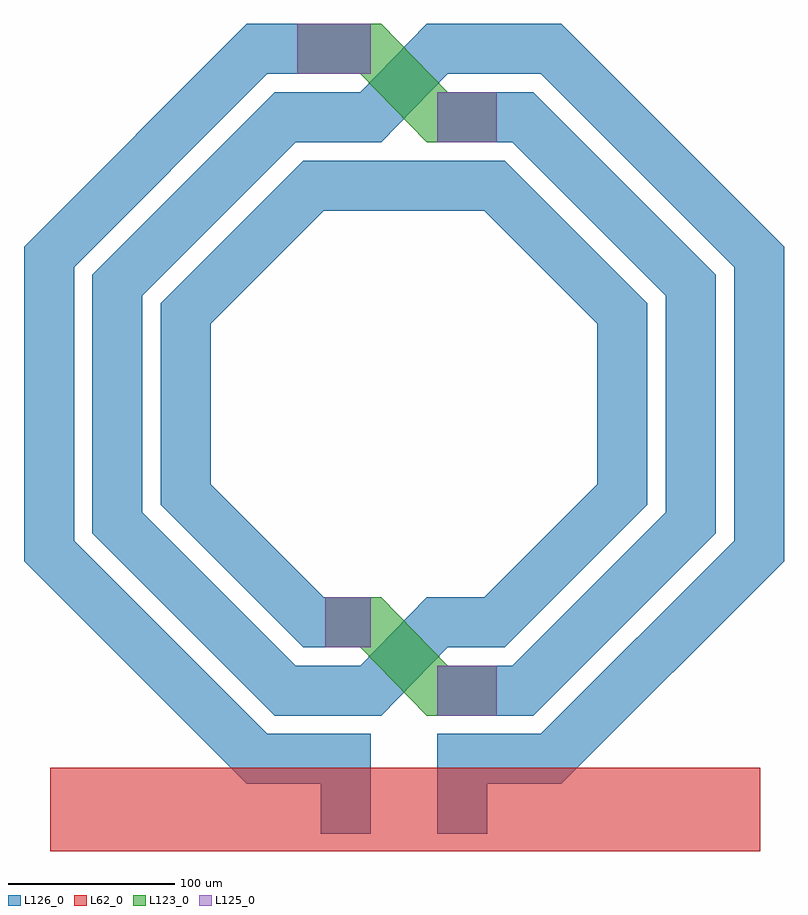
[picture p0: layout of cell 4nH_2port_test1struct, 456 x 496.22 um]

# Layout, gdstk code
import gdstk
lib = gdstk.Library(unit=1e-6, precision=1e-09)
def R(c, l, rs):  # rectangles x0, y0, x1, y1
    for r in rs: c.add(gdstk.rectangle(r[:2], r[2:], *l))
def P(c, l, *ps):  # polygons
    for p in ps: c.add(gdstk.Polygon(p, *l))
L62_0 = (62, 0)
L123_0 = (123, 0)
L125_0 = (125, 0)
L126_0 = (126, 0)

c_4nh_2port_test1struct = lib.new_cell('4nH_2port_test1struct')
R(c_4nh_2port_test1struct, L62_0, [(-210.935,-273.289,215.065,-223.289)])
P(c_4nh_2port_test1struct, L123_0, [(57.041,-162.073),(27.741,-162.073),(-12.259,-121.073),(-45.712,-121.073),(-45.712,-151.073),(-24.903,-151.073),(15.097,-192.073),(57.041,-192.073)],
  [(57.041,181.927),(27.741,181.927),(-12.259,222.927),(-62.695,222.927),(-62.695,192.927),(-24.903,192.927),(15.097,151.927),(57.041,151.927)])
R(c_4nh_2port_test1struct, L125_0, [(21.419,-192.073,57.041,-162.073), (-45.712,-151.073,-18.581,-121.073), (21.419,151.927,57.041,181.927), (-62.695,192.927,-18.581,222.927)])
R(c_4nh_2port_test1struct, L126_0, [(-48.581,-263.073,-18.581,-203.073), (21.419,-263.073,51.419,-203.073), (-18.581,110.927,21.419,140.927)])
P(c_4nh_2port_test1struct, L126_0, [(229.419,89.367),(95.859,222.927),(21.419,222.927),(21.419,192.927),(83.433,192.927),(199.419,76.941),(199.419,-87.088),(83.433,-203.073),(21.419,-203.073),(21.419,-233.073),(95.859,-233.073),(229.419,-99.514)],
  [(-18.581,181.927),(-76.039,181.927),(-185.581,72.385),(-185.581,-82.531),(-76.039,-192.073),(-18.581,-192.073),(-18.581,-162.073),(-63.613,-162.073),(-155.581,-70.105),(-155.581,59.958),(-63.613,151.927),(-18.581,151.927)],
  [(-18.581,222.927),(-93.022,222.927),(-226.581,89.367),(-226.581,-99.514),(-93.022,-233.073),(-18.581,-233.073),(-18.581,-203.073),(-80.596,-203.073),(-196.581,-87.088),(-196.581,76.941),(-80.596,192.927),(-18.581,192.927)],
  [(55.532,222.927),(15.097,222.927),(-24.903,181.927),(-54.204,181.927),(-54.204,151.927),(-12.259,151.927),(27.741,192.927),(55.532,192.927)],
  [(188.419,72.385),(78.877,181.927),(21.419,181.927),(21.419,151.927),(66.45,151.927),(158.419,59.958),(158.419,-70.105),(66.45,-162.073),(21.419,-162.073),(21.419,-192.073),(78.877,-192.073),(188.419,-82.531)],
  [(48.55,-121.073),(15.097,-121.073),(-24.903,-162.073),(-54.204,-162.073),(-54.204,-192.073),(-12.259,-192.073),(27.741,-151.073),(48.55,-151.073)],
  [(-18.581,140.927),(-59.057,140.927),(-144.581,55.402),(-144.581,-65.548),(-59.057,-151.073),(-18.581,-151.073),(-18.581,-121.073),(-46.63,-121.073),(-114.581,-53.122),(-114.581,42.975),(-46.63,110.927),(-18.581,110.927)],
  [(147.419,55.402),(61.894,140.927),(21.419,140.927),(21.419,110.927),(49.467,110.927),(117.419,42.975),(117.419,-53.122),(49.467,-121.073),(21.419,-121.073),(21.419,-151.073),(61.894,-151.073),(147.419,-65.548)])

lib.write_gds('4nH_2port_test1struct.gds')
